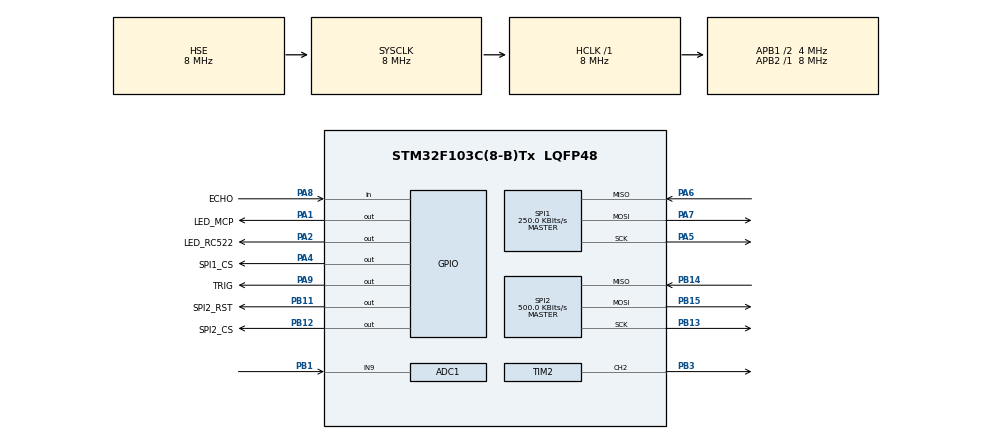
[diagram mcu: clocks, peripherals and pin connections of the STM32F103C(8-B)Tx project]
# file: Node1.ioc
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ADC1.Channel-3\#ChannelRegularConversion=ADC_CHANNEL_9
ADC1.ContinuousConvMode=ENABLE
ADC1.NbrOfConversionFlag=1
ADC1.Rank-3\#ChannelRegularConversion=1
ADC1.SamplingTime-3\#ChannelRegularConversion=ADC_SAMPLETIME_1CYCLE_5
ADC1.master=1
Mcu.Family=STM32F1
Mcu.Name=STM32F103C(8-B)Tx
Mcu.Package=LQFP48
NVIC.PriorityGroup=NVIC_PRIORITYGROUP_4
PA1.GPIO_Label=LED_MCP
PA1.Signal=GPIO_Output
PA13.Mode=Serial_Wire
PA13.Signal=SYS_JTMS-SWDIO
PA14.Mode=Serial_Wire
PA14.Signal=SYS_JTCK-SWCLK
PA2.GPIO_Label=LED_RC522
PA2.Signal=GPIO_Output
PA4.GPIO_Label=SPI1_CS
PA4.PinState=GPIO_PIN_SET
PA4.Signal=GPIO_Output
PA5.Mode=Full_Duplex_Master
PA5.Signal=SPI1_SCK
PA6.Mode=Full_Duplex_Master
PA6.Signal=SPI1_MISO
PA7.Mode=Full_Duplex_Master
PA7.Signal=SPI1_MOSI
PA8.GPIO_Label=ECHO
PA8.Signal=GPIO_Input
PA9.GPIO_Label=TRIG
PA9.Signal=GPIO_Output
PB1.Signal=ADCx_IN9
PB11.GPIO_Label=SPI2_RST
PB11.Signal=GPIO_Output
PB12.GPIO_Label=SPI2_CS
PB12.Signal=GPIO_Output
PB13.Mode=Full_Duplex_Master
PB13.Signal=SPI2_SCK
PB14.Mode=Full_Duplex_Master
PB14.Signal=SPI2_MISO
PB15.Mode=Full_Duplex_Master
PB15.Signal=SPI2_MOSI
PB3.Signal=S_TIM2_CH2
PD0-OSC_IN.Mode=HSE-External-Oscillator
PD0-OSC_IN.Signal=RCC_OSC_IN
PD1-OSC_OUT.Mode=HSE-External-Oscillator
PD1-OSC_OUT.Signal=RCC_OSC_OUT
ProjectManager.HeapSize=0x200
ProjectManager.StackSize=0x400
ProjectManager.TargetToolchain=MDK-ARM V5
RCC.ADCPresc=RCC_ADCPCLK2_DIV6
RCC.AHBFreq_Value=8000000
RCC.APB1CLKDivider=RCC_HCLK_DIV2
RCC.APB1Freq_Value=4000000
RCC.APB1TimFreq_Value=8000000
RCC.APB2Freq_Value=8000000
RCC.APB2TimFreq_Value=8000000
RCC.HCLKFreq_Value=8000000
RCC.PLLMUL=RCC_PLL_MUL9
RCC.PLLSourceVirtual=RCC_PLLSOURCE_HSE
RCC.SYSCLKFreq_VALUE=8000000
RCC.SYSCLKSource=RCC_SYSCLKSOURCE_HSE
RCC.USBFreq_Value=72000000
SH.ADCx_IN9.0=ADC1_IN9,IN9
SH.S_TIM2_CH2.0=TIM2_CH2,PWM Generation2 CH2
SPI1.BaudRatePrescaler=SPI_BAUDRATEPRESCALER_32
SPI1.CalculateBaudRate=250.0 KBits/s
SPI1.DataSize=SPI_DATASIZE_8BIT
SPI1.Direction=SPI_DIRECTION_2LINES
SPI1.Mode=SPI_MODE_MASTER
SPI1.VirtualType=VM_MASTER
SPI2.BaudRatePrescaler=SPI_BAUDRATEPRESCALER_8
SPI2.CalculateBaudRate=500.0 KBits/s
SPI2.Direction=SPI_DIRECTION_2LINES
SPI2.Mode=SPI_MODE_MASTER
SPI2.VirtualType=VM_MASTER
TIM1.Prescaler=7
TIM2.Channel-PWM\ Generation2\ CH2=TIM_CHANNEL_2
TIM2.Period=9999
TIM2.Prescaler=15
VP_TIM1_VS_ClockSourceINT.Mode=Internal
VP_TIM2_VS_ClockSourceINT.Mode=Internal
board=custom

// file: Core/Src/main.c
/* USER CODE BEGIN Header */
/**
  ******************************************************************************
  * @file           : main.c
  * @brief          : Main program body
  ******************************************************************************
  * @attention
  *
  * Copyright (c) 2024 STMicroelectronics.
  * All rights reserved.
  *
  * This software is licensed under terms that can be found in the LICENSE file
  * in the root directory of this software component.
  * If no LICENSE file comes with this software, it is provided AS-IS.
  *
  ******************************************************************************
  */
/* USER CODE END Header */
#include "main.h"

/* USER CODE BEGIN Includes */
#include "CAN_SPI.h"
#include "RC522.h"
#include "stdio.h"
#include "string.h"
/* USER CODE END Includes */

/* USER CODE BEGIN PD */
void readRFID(void);
void readHCSR04(void);
void readPhotoresistor(void);
void turnServo(void);
/* USER CODE END PD */

ADC_HandleTypeDef hadc1;

SPI_HandleTypeDef hspi1;
SPI_HandleTypeDef hspi2;

TIM_HandleTypeDef htim1;
TIM_HandleTypeDef htim2;

/* USER CODE BEGIN PV */
uCAN_MSG txMessage;
uCAN_MSG rxMessage;

uint8_t status;
uint8_t str[MAX_LEN];
uint8_t sNum[5];
uint8_t statusRFID = 0;
uint8_t cardID[5];

uint32_t pMillis;
uint32_t value1 = 0;
uint32_t value2 = 0;
uint16_t distance  = 0;

uint16_t photoresistor  = 0;
/* USER CODE END PV */

void SystemClock_Config(void);
static void MX_GPIO_Init(void);
static void MX_SPI1_Init(void);
static void MX_SPI2_Init(void);
static void MX_TIM1_Init(void);
static void MX_ADC1_Init(void);
static void MX_TIM2_Init(void);

int main(void)
{

  /* MCU Configuration--------------------------------------------------------*/

  /* Reset of all peripherals, Initializes the Flash interface and the Systick. */
  HAL_Init();

  /* Configure the system clock */
  SystemClock_Config();

  /* Initialize all configured peripherals */
  MX_GPIO_Init();
  MX_SPI1_Init();
  MX_SPI2_Init();
  MX_TIM1_Init();
  MX_ADC1_Init();
  MX_TIM2_Init();
  /* USER CODE BEGIN 2 */
	CANSPI_Initialize();
	MFRC522_Init();
	HAL_TIM_Base_Start(&htim1);
	HAL_TIM_PWM_Start(&htim2, TIM_CHANNEL_2);
  HAL_GPIO_WritePin(TRIG_GPIO_Port, TRIG_Pin, GPIO_PIN_RESET);
	HAL_ADC_Start(&hadc1);

  /* USER CODE END 2 */

  /* Infinite loop */
  while (1)
  {

    /* USER CODE BEGIN 3 */
			while (1) {
				if(CANSPI_Receive(&rxMessage)){
					if(rxMessage.frame.id == 0x00){
						cardID[0] = rxMessage.frame.data0;
						cardID[1] = rxMessage.frame.data1;
						cardID[2] = rxMessage.frame.data2;
						cardID[3] = rxMessage.frame.data3;
						cardID[4] = rxMessage.frame.data4;
						break;
					}
				}
			}
			readRFID();
			readHCSR04();
			readPhotoresistor();

			txMessage.frame.idType = dSTANDARD_CAN_MSG_ID_2_0B;
			txMessage.frame.id = 0x01;
			txMessage.frame.dlc = 3;
			txMessage.frame.data0 = statusRFID;
			txMessage.frame.data1 = distance;
			txMessage.frame.data2 = photoresistor;
			CANSPI_Transmit(&txMessage);
			if(statusRFID==1){
				turnServo();
			}
			HAL_GPIO_TogglePin(LED_MCP_GPIO_Port, LED_MCP_Pin);
			HAL_Delay(900);
  }
  /* USER CODE END 3 */
}

void SystemClock_Config(void)
{
  RCC_OscInitTypeDef RCC_OscInitStruct = {0};
  RCC_ClkInitTypeDef RCC_ClkInitStruct = {0};
  RCC_PeriphCLKInitTypeDef PeriphClkInit = {0};

  /** Initializes the RCC Oscillators according to the specified parameters
  * in the RCC_OscInitTypeDef structure.
  */
  RCC_OscInitStruct.OscillatorType = RCC_OSCILLATORTYPE_HSE;
  RCC_OscInitStruct.HSEState = RCC_HSE_ON;
  RCC_OscInitStruct.PLL.PLLState = RCC_PLL_NONE;
  if (HAL_RCC_OscConfig(&RCC_OscInitStruct) != HAL_OK)
  {
    Error_Handler();
  }

  /** Initializes the CPU, AHB and APB buses clocks
  */
  RCC_ClkInitStruct.ClockType = RCC_CLOCKTYPE_HCLK|RCC_CLOCKTYPE_SYSCLK
                              |RCC_CLOCKTYPE_PCLK1|RCC_CLOCKTYPE_PCLK2;
  RCC_ClkInitStruct.SYSCLKSource = RCC_SYSCLKSOURCE_HSE;
  RCC_ClkInitStruct.AHBCLKDivider = RCC_SYSCLK_DIV1;
  RCC_ClkInitStruct.APB1CLKDivider = RCC_HCLK_DIV2;
  RCC_ClkInitStruct.APB2CLKDivider = RCC_HCLK_DIV1;

  if (HAL_RCC_ClockConfig(&RCC_ClkInitStruct, FLASH_LATENCY_0) != HAL_OK)
  {
    Error_Handler();
  }
  PeriphClkInit.PeriphClockSelection = RCC_PERIPHCLK_ADC;
  PeriphClkInit.AdcClockSelection = RCC_ADCPCLK2_DIV6;
  if (HAL_RCCEx_PeriphCLKConfig(&PeriphClkInit) != HAL_OK)
  {
    Error_Handler();
  }
}

static void MX_ADC1_Init(void)
{

  ADC_ChannelConfTypeDef sConfig = {0};

  /** Common config
  */
  hadc1.Instance = ADC1;
  hadc1.Init.ScanConvMode = ADC_SCAN_DISABLE;
  hadc1.Init.ContinuousConvMode = ENABLE;
  hadc1.Init.DiscontinuousConvMode = DISABLE;
  hadc1.Init.ExternalTrigConv = ADC_SOFTWARE_START;
  hadc1.Init.DataAlign = ADC_DATAALIGN_RIGHT;
  hadc1.Init.NbrOfConversion = 1;
  if (HAL_ADC_Init(&hadc1) != HAL_OK)
  {
    Error_Handler();
  }

  /** Configure Regular Channel
  */
  sConfig.Channel = ADC_CHANNEL_9;
  sConfig.Rank = ADC_REGULAR_RANK_1;
  sConfig.SamplingTime = ADC_SAMPLETIME_1CYCLE_5;
  if (HAL_ADC_ConfigChannel(&hadc1, &sConfig) != HAL_OK)
  {
    Error_Handler();
  }

}

static void MX_SPI1_Init(void)
{

  /* SPI1 parameter configuration*/
  hspi1.Instance = SPI1;
  hspi1.Init.Mode = SPI_MODE_MASTER;
  hspi1.Init.Direction = SPI_DIRECTION_2LINES;
  hspi1.Init.DataSize = SPI_DATASIZE_8BIT;
  hspi1.Init.CLKPolarity = SPI_POLARITY_LOW;
  hspi1.Init.CLKPhase = SPI_PHASE_1EDGE;
  hspi1.Init.NSS = SPI_NSS_SOFT;
  hspi1.Init.BaudRatePrescaler = SPI_BAUDRATEPRESCALER_32;
  hspi1.Init.FirstBit = SPI_FIRSTBIT_MSB;
  hspi1.Init.TIMode = SPI_TIMODE_DISABLE;
  hspi1.Init.CRCCalculation = SPI_CRCCALCULATION_DISABLE;
  hspi1.Init.CRCPolynomial = 10;
  if (HAL_SPI_Init(&hspi1) != HAL_OK)
  {
    Error_Handler();
  }

}

static void MX_SPI2_Init(void)
{

  /* SPI2 parameter configuration*/
  hspi2.Instance = SPI2;
  hspi2.Init.Mode = SPI_MODE_MASTER;
  hspi2.Init.Direction = SPI_DIRECTION_2LINES;
  hspi2.Init.DataSize = SPI_DATASIZE_8BIT;
  hspi2.Init.CLKPolarity = SPI_POLARITY_LOW;
  hspi2.Init.CLKPhase = SPI_PHASE_1EDGE;
  hspi2.Init.NSS = SPI_NSS_SOFT;
  hspi2.Init.BaudRatePrescaler = SPI_BAUDRATEPRESCALER_8;
  hspi2.Init.FirstBit = SPI_FIRSTBIT_MSB;
  hspi2.Init.TIMode = SPI_TIMODE_DISABLE;
  hspi2.Init.CRCCalculation = SPI_CRCCALCULATION_DISABLE;
  hspi2.Init.CRCPolynomial = 10;
  if (HAL_SPI_Init(&hspi2) != HAL_OK)
  {
    Error_Handler();
  }

}

static void MX_TIM1_Init(void)
{

  TIM_ClockConfigTypeDef sClockSourceConfig = {0};
  TIM_MasterConfigTypeDef sMasterConfig = {0};

  htim1.Instance = TIM1;
  htim1.Init.Prescaler = 7;
  htim1.Init.CounterMode = TIM_COUNTERMODE_UP;
  htim1.Init.Period = 65535;
  htim1.Init.ClockDivision = TIM_CLOCKDIVISION_DIV1;
  htim1.Init.RepetitionCounter = 0;
  htim1.Init.AutoReloadPreload = TIM_AUTORELOAD_PRELOAD_DISABLE;
  if (HAL_TIM_Base_Init(&htim1) != HAL_OK)
  {
    Error_Handler();
  }
  sClockSourceConfig.ClockSource = TIM_CLOCKSOURCE_INTERNAL;
  if (HAL_TIM_ConfigClockSource(&htim1, &sClockSourceConfig) != HAL_OK)
  {
    Error_Handler();
  }
  sMasterConfig.MasterOutputTrigger = TIM_TRGO_RESET;
  sMasterConfig.MasterSlaveMode = TIM_MASTERSLAVEMODE_DISABLE;
  if (HAL_TIMEx_MasterConfigSynchronization(&htim1, &sMasterConfig) != HAL_OK)
  {
    Error_Handler();
  }

}

static void MX_TIM2_Init(void)
{

  TIM_ClockConfigTypeDef sClockSourceConfig = {0};
  TIM_MasterConfigTypeDef sMasterConfig = {0};
  TIM_OC_InitTypeDef sConfigOC = {0};

  htim2.Instance = TIM2;
  htim2.Init.Prescaler = 15;
  htim2.Init.CounterMode = TIM_COUNTERMODE_UP;
  htim2.Init.Period = 9999;
  htim2.Init.ClockDivision = TIM_CLOCKDIVISION_DIV1;
  htim2.Init.AutoReloadPreload = TIM_AUTORELOAD_PRELOAD_DISABLE;
  if (HAL_TIM_Base_Init(&htim2) != HAL_OK)
  {
    Error_Handler();
  }
  sClockSourceConfig.ClockSource = TIM_CLOCKSOURCE_INTERNAL;
  if (HAL_TIM_ConfigClockSource(&htim2, &sClockSourceConfig) != HAL_OK)
  {
    Error_Handler();
  }
  if (HAL_TIM_PWM_Init(&htim2) != HAL_OK)
  {
    Error_Handler();
  }
  sMasterConfig.MasterOutputTrigger = TIM_TRGO_RESET;
  sMasterConfig.MasterSlaveMode = TIM_MASTERSLAVEMODE_DISABLE;
  if (HAL_TIMEx_MasterConfigSynchronization(&htim2, &sMasterConfig) != HAL_OK)
  {
    Error_Handler();
  }
  sConfigOC.OCMode = TIM_OCMODE_PWM1;
  sConfigOC.Pulse = 0;
  sConfigOC.OCPolarity = TIM_OCPOLARITY_HIGH;
  sConfigOC.OCFastMode = TIM_OCFAST_DISABLE;
  if (HAL_TIM_PWM_ConfigChannel(&htim2, &sConfigOC, TIM_CHANNEL_2) != HAL_OK)
  {
    Error_Handler();
  }
  HAL_TIM_MspPostInit(&htim2);

}

static void MX_GPIO_Init(void)
{
  GPIO_InitTypeDef GPIO_InitStruct = {0};

  /* GPIO Ports Clock Enable */
  __HAL_RCC_GPIOD_CLK_ENABLE();
  __HAL_RCC_GPIOA_CLK_ENABLE();
  __HAL_RCC_GPIOB_CLK_ENABLE();

  /*Configure GPIO pin Output Level */
  HAL_GPIO_WritePin(GPIOA, LED_MCP_Pin|LED_RC522_Pin|TRIG_Pin, GPIO_PIN_RESET);

  /*Configure GPIO pin Output Level */
  HAL_GPIO_WritePin(SPI1_CS_GPIO_Port, SPI1_CS_Pin, GPIO_PIN_SET);

  /*Configure GPIO pin Output Level */
  HAL_GPIO_WritePin(GPIOB, SPI2_RST_Pin|SPI2_CS_Pin, GPIO_PIN_RESET);

  /*Configure GPIO pins : LED_MCP_Pin LED_RC522_Pin SPI1_CS_Pin TRIG_Pin */
  GPIO_InitStruct.Pin = LED_MCP_Pin|LED_RC522_Pin|SPI1_CS_Pin|TRIG_Pin;
  GPIO_InitStruct.Mode = GPIO_MODE_OUTPUT_PP;
  GPIO_InitStruct.Pull = GPIO_NOPULL;
  GPIO_InitStruct.Speed = GPIO_SPEED_FREQ_LOW;
  HAL_GPIO_Init(GPIOA, &GPIO_InitStruct);

  /*Configure GPIO pins : SPI2_RST_Pin SPI2_CS_Pin */
  GPIO_InitStruct.Pin = SPI2_RST_Pin|SPI2_CS_Pin;
  GPIO_InitStruct.Mode = GPIO_MODE_OUTPUT_PP;
  GPIO_InitStruct.Pull = GPIO_NOPULL;
  GPIO_InitStruct.Speed = GPIO_SPEED_FREQ_LOW;
  HAL_GPIO_Init(GPIOB, &GPIO_InitStruct);

  /*Configure GPIO pin : ECHO_Pin */
  GPIO_InitStruct.Pin = ECHO_Pin;
  GPIO_InitStruct.Mode = GPIO_MODE_INPUT;
  GPIO_InitStruct.Pull = GPIO_NOPULL;
  HAL_GPIO_Init(ECHO_GPIO_Port, &GPIO_InitStruct);

}

/* USER CODE BEGIN 4 */
void readRFID(void){
	status = MFRC522_Request(PICC_REQIDL, str);
	status = MFRC522_Anticoll(str);
	memcpy(sNum, str, 5);
	HAL_Delay(100);
	if((str[0]==cardID[0]) && (str[1]==cardID[1]) && (str[2]==cardID[2]) && (str[3]==cardID[3]) && (str[4]==cardID[4])){
		statusRFID=1;
		HAL_GPIO_WritePin(LED_RC522_GPIO_Port,LED_RC522_Pin,GPIO_PIN_SET);
		str[0]=0;
		str[1]=0;
		str[2]=0;
		str[3]=0;
		str[4]=0;
	}else{
		statusRFID=0;
		HAL_GPIO_WritePin(LED_RC522_GPIO_Port,LED_RC522_Pin,GPIO_PIN_RESET);
	}
}
void readHCSR04(void){
		HAL_GPIO_WritePin(TRIG_GPIO_Port, TRIG_Pin, GPIO_PIN_SET);
	  __HAL_TIM_SET_COUNTER(&htim1, 0);
	   while (__HAL_TIM_GET_COUNTER (&htim1) < 10);  // wait for 10 us
	   HAL_GPIO_WritePin(TRIG_GPIO_Port, TRIG_Pin, GPIO_PIN_RESET);

	   pMillis = HAL_GetTick();
	   while (!(HAL_GPIO_ReadPin (ECHO_GPIO_Port, ECHO_Pin)) && pMillis + 10 >  HAL_GetTick());
	   value1 = __HAL_TIM_GET_COUNTER (&htim1);

	   pMillis = HAL_GetTick();
	   while ((HAL_GPIO_ReadPin (ECHO_GPIO_Port, ECHO_Pin)) && pMillis + 50 > HAL_GetTick());
	   value2 = __HAL_TIM_GET_COUNTER (&htim1);

	   distance = (value2-value1)* 0.034/2;
}
void readPhotoresistor(void){
	HAL_ADC_PollForConversion(&hadc1,1000);
	//photoresistor=HAL_ADC_GetValue(&hadc1);
	if(HAL_ADC_GetValue(&hadc1)> 150){
		photoresistor = 1;
	}else{
		photoresistor = 0;
	}
}
void turnServo(void){
	int x;
    for(x=250; x<1250; x=x+1)
    {
      __HAL_TIM_SET_COMPARE(&htim2,TIM_CHANNEL_2, x);
      HAL_Delay(2);
    }
}

/* USER CODE END 4 */

void Error_Handler(void)
{
  __disable_irq();
  while (1)
  {
  }
}
